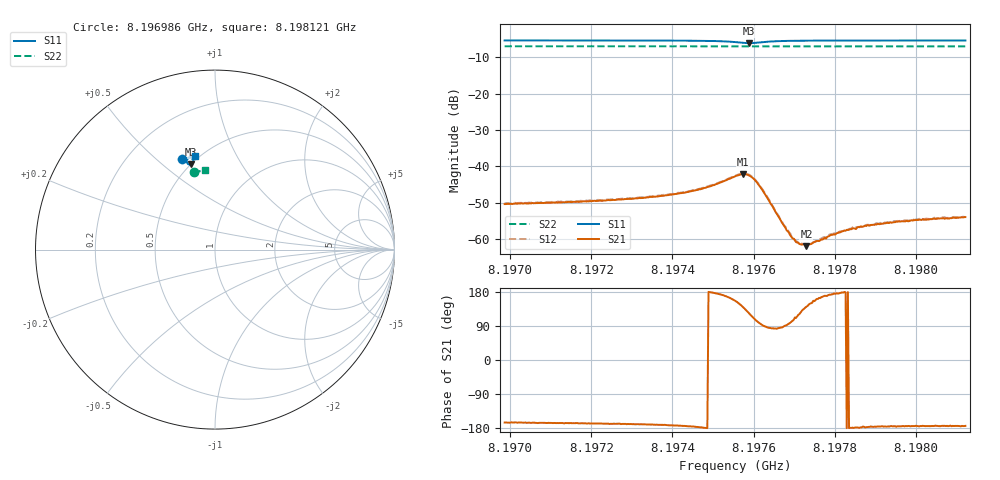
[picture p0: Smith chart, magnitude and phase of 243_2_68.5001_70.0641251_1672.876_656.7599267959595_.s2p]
#  HZ  S  RI  R  50.00
! Rohde & Schwarz Vector Network Analyzer
! Rohde-Schwarz,ZNB20-2Port,1311601062101988,3.16
! Created: UTC 3/20/2024, 5:14:38 PM
! freq[Hz]  re:S11  im:S11  re:S21  im:S21  re:S12  im:S12  re:S22  im:S22
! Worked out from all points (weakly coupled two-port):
!   401 points, 8.196986 GHz to 8.198121 GHz, reference 50 ohm
!   highest |S21| = -42.10 dB at 8.197574 GHz (marker M1); lowest = -61.9 dB at 8.19773 GHz (marker M2)
!   lowest |S11| = -6.1 dB at 8.197588 GHz (marker M3), VSWR 2.94, Z = 25.1 + j31.5 ohm
!   |S11| at or under -10 dB: nowhere
!   |S22| runs from -7.1 to -7.0 dB; largest |S21 - S12| = 0.00036
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8.1969865e9  -0.1821 0.5039  -0.00295 -0.000785  -0.00304 -0.000694  -0.119 0.4301
8.1971766e9  -0.1679 0.5084  -0.0032 -0.00076  -0.00331 -0.000638  -0.1086 0.4326
8.1973667e9  -0.1511 0.5122  -0.00387 -0.000612  -0.00399 -0.000416  -0.0978 0.4347
8.197432e9  -0.1435 0.5127  -0.00439 -0.00044  -0.00453 -0.000267  -0.0944 0.4353
8.1974688e9  -0.138 0.5121  -0.00487 -0.000197  -0.00499 1.72e-05  -0.0921 0.4356
8.1975029e9  -0.1312 0.5099  -0.00556 0.000293  -0.00568 0.000547  -0.0902 0.4359
8.197554e9  -0.1203 0.4951  -0.00673 0.00292  -0.00672 0.00324  -0.0871 0.4359
8.1975738e9  -0.1231 0.4819  -0.00596 0.00511  -0.00588 0.00542  -0.0862 0.4359
8.197588e9  -0.1326 0.4745  -0.00421 0.00629  -0.00408 0.0066  -0.0858 0.4359
8.1976022e9  -0.1449 0.4745  -0.00205 0.00627  -0.00182 0.00648  -0.0853 0.4358
8.1976164e9  -0.1537 0.4808  -0.000505 0.0052  -0.000328 0.00536  -0.0848 0.4364
8.197676e9  -0.1537 0.5047  2.37e-07 0.00151  9.49e-05 0.00152  -0.0815 0.4374
8.1976987e9  -0.1504 0.5085  -0.000286 0.000982  -0.00021 0.000991  -0.08 0.4377
8.1977129e9  -0.1483 0.5102  -0.000453 0.000734  -0.000418 0.000768  -0.0792 0.4377
8.1977299e9  -0.1462 0.5118  -0.000624 0.000512  -0.000641 0.000569  -0.0783 0.4379
8.1977441e9  -0.1444 0.5128  -0.000774 0.000425  -0.000756 0.000461  -0.0775 0.4382
8.1977895e9  -0.1393 0.5154  -0.00114 0.000151  -0.00117 0.000201  -0.0749 0.4385
8.1978405e9  -0.1342 0.5175  -0.00138 -2.37e-05  -0.00139 2.77e-05  -0.0719 0.4391
8.1978774e9  -0.1309 0.5185  -0.00153 -7.18e-05  -0.00158 -2.62e-05  -0.07 0.4393
8.1979342e9  -0.1261 0.5199  -0.00167 -0.000128  -0.00172 -0.000102  -0.0667 0.4397
8.1980079e9  -0.1201 0.5214  -0.00186 -0.00016  -0.00192 -9.78e-05  -0.0624 0.4402
8.1981214e9  -0.1112 0.5233  -0.00201 -0.000216  -0.00205 -0.000142  -0.0561 0.4408
